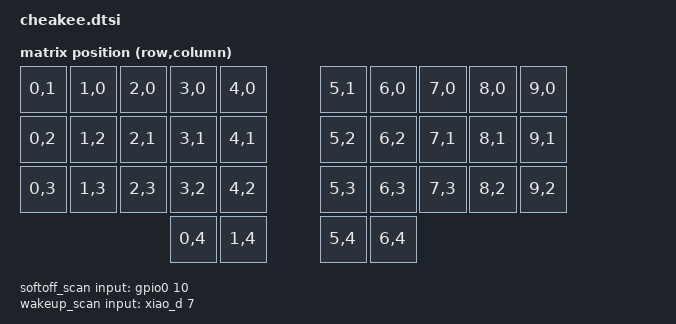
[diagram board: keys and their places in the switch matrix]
#include <dt-bindings/zmk/behaviors.h>
#include <dt-bindings/zmk/matrix_transform.h>
#include <input/processors.dtsi>

#include "cheakee-layouts.dtsi"

/ {
    kscan0: kscan0 {
        compatible = "zmk,kscan-gpio-charlieplex";
        gpios
            = <&xiao_d 10 GPIO_ACTIVE_HIGH>
            , <&xiao_d 9 GPIO_ACTIVE_HIGH>
            , <&xiao_d 6 GPIO_ACTIVE_HIGH>
            , <&xiao_d 1 GPIO_ACTIVE_HIGH>
            , <&xiao_d 0 GPIO_ACTIVE_HIGH>;
        interrupt-gpios = <&xiao_d 8 (GPIO_ACTIVE_HIGH | GPIO_PULL_DOWN)>;
        debounce-release-ms = <20>;
        wakeup-source;
    };

    default_transform: keymap_transform0 {
        compatible = "zmk,matrix-transform";
        columns = <5>;
        rows = <10>;
        map = <
            RC(0,1) RC(1,0) RC(2,0) RC(3,0) RC(4,0)    RC(5,1) RC(6,0) RC(7,0) RC(8,0) RC(9,0)
            RC(0,2) RC(1,2) RC(2,1) RC(3,1) RC(4,1)    RC(5,2) RC(6,2) RC(7,1) RC(8,1) RC(9,1)
            RC(0,3) RC(1,3) RC(2,3) RC(3,2) RC(4,2)    RC(5,3) RC(6,3) RC(7,3) RC(8,2) RC(9,2)
            RC(0,4) RC(1,4)                            RC(5,4) RC(6,4)
        >;
    };

    chosen {
        zmk,physical-layout = &physical_layout0;
    };

    behaviors {
#if ZMK_BEHAVIOR_OMIT(SOFT_OFF_LOCAL)
        /omit-if-no-ref/
#endif
        // The name of the node must be at most 8 characters long
        // because the locality of this behavior is LOCALITY_EVENT_SOURCE (See docs)
        softoff_local: z_sol {
            compatible = "zmk,behavior-soft-off-local";
            #binding-cells = <0>;
        };
    };

    split_inputs {
        #address-cells = <1>;
        #size-cells = <0>;

        trackball_split: trackball_split@0 {
            compatible = "zmk,input-split";
            status = "disabled";
            reg = <0>;
        };
    };

    trackball_listener_central: trackball_listener_central {
        compatible = "zmk,input-listener";
        status = "disabled";
        device = <&trackball>;
    };

    trackball_listener: trackball_listener {
        compatible = "zmk,input-listener";
        status = "disabled";
        device = <&trackball_split>;
    };

    softoff_scan: softoff_scan {
        compatible = "zmk,kscan-gpio-direct";
        input-gpios = <&gpio0 10 (GPIO_ACTIVE_LOW | GPIO_PULL_UP)>;
        wakeup-source;
    };

    wakeup_scan: wakeup_scan {
        compatible = "zmk,kscan-gpio-direct";
        input-gpios = <&xiao_d 7 (GPIO_ACTIVE_LOW | GPIO_PULL_UP)>;
        wakeup-source;
    };

    side_band_behavior_triggers: side_band_behavior_triggers {
        compatible = "zmk,kscan-sideband-behaviors";

        kscan = <&softoff_scan>;
        auto-enable;
        wakeup-source;

        soft_off {
            column = <0>;
            row = <0>;
            bindings = <&softoff_local>;
        };
    };

    soft_off_wakers {
        compatible = "zmk,soft-off-wakeup-sources";
        wakeup-sources = <&wakeup_scan>;
    };
};

&physical_layout0 {
    kscan = <&kscan0>;
    transform = <&default_transform>;
};

&uicr {
    nfct-pins-as-gpios;
};

&pinctrl {
    spi0_default: spi0_default {
        group1 {
            psels = <NRF_PSEL(SPIM_SCK, 0, 5)>,
                <NRF_PSEL(SPIM_MOSI, 0, 4)>,
                <NRF_PSEL(SPIM_MISO, 0, 4)>;
        };
    };

    spi0_sleep: spi0_sleep {
        group1 {
            psels = <NRF_PSEL(SPIM_SCK, 0, 5)>,
                <NRF_PSEL(SPIM_MOSI, 0, 4)>,
                <NRF_PSEL(SPIM_MISO, 0, 4)>;
            low-power-enable;
        };
    };
};

&spi0 {
    status = "disabled";
    compatible = "nordic,nrf-spim";
    pinctrl-0 = <&spi0_default>;
    pinctrl-1 = <&spi0_sleep>;
    pinctrl-names = "default", "sleep";
    cs-gpios = <&xiao_d 2 GPIO_ACTIVE_LOW>;

    // https://github.com/zmkfirmware/zephyr/blob/v3.5.0%2Bzmk-fixes/include/zephyr/dt-bindings/input/input-event-codes.h#L245
    trackball: trackball@0 {
        status = "disabled";
        compatible = "pixart,pmw3610";
        reg = <0>;
        spi-max-frequency = <2000000>;
        irq-gpios = <&xiao_d 3 (GPIO_ACTIVE_LOW | GPIO_PULL_UP)>;
        cpi = <600>;
        evt-type = <INPUT_EV_REL>;
        x-input-code = <INPUT_REL_X>;
        y-input-code = <INPUT_REL_Y>;
    };
};
